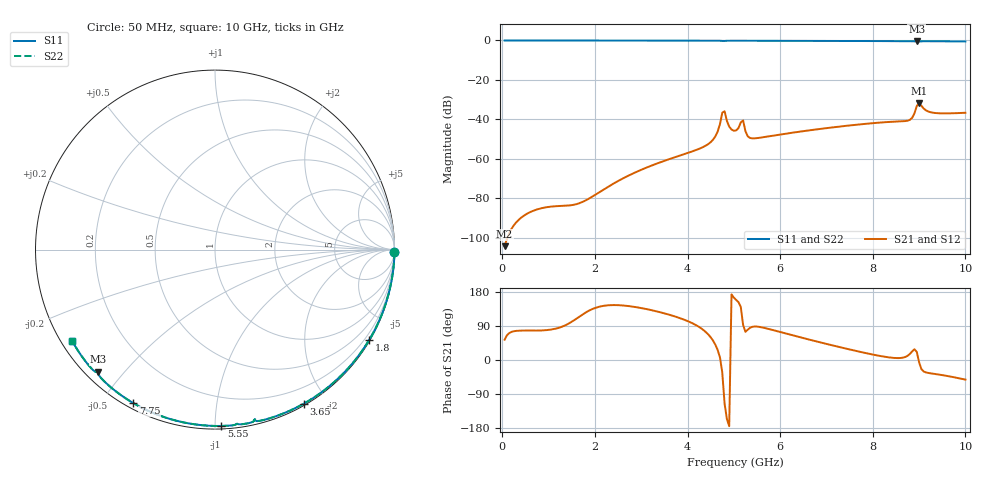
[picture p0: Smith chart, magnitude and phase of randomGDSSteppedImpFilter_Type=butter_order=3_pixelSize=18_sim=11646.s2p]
! freq	dB(S11)	phase(S11)	dB(S12)	phase(S12)
!  dB(S21)	phase(S21)	dB(S22)	phase(S22)
!S-par simulation data
#  GHz  S  DB  R 50
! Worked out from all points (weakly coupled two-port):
!   200 points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, 50 MHz to 10 GHz, reference 50 ohm
!   highest |S21| = -31.62 dB at 9 GHz (marker M1); lowest = -104.2 dB at 50 MHz (marker M2)
!   lowest |S11| = -0.5 dB at 8.95 GHz (marker M3), VSWR 33.44, Z = 1.77 - j21.3 ohm
!   |S11| at or under -10 dB: nowhere
!   |S22| runs from -0.5 to 0.0 dB; largest |S21 - S12| = 0
!   S11 on the Smith chart (normalised r, x): 50 MHz: open; 1.8 GHz: 0.03, -3.69; 3.65 GHz: 0.02, -1.73; 5.55 GHz: 0.02, -1.04; 7.75 GHz: 0.02, -0.60; 10 GHz: 0.03, -0.29
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0.05  -0.00 -0.9  -104.16 53.6  -104.16 53.6  -0.00 -0.9
1.75  -0.04 -29.5  -81.57 121.5  -81.57 121.5  -0.04 -29.5
1.8  -0.04 -30.3  -80.99 125.3  -80.99 125.3  -0.04 -30.3
3.4  -0.07 -56.1  -61.79 126.3  -61.79 126.3  -0.07 -56.0
3.65  -0.08 -59.9  -59.72 117.8  -59.72 117.8  -0.08 -59.9
4.5  -0.11 -72.9  -51.49 59.9  -51.49 59.9  -0.11 -72.9
4.65  -0.12 -75.3  -46.16 26.8  -46.16 26.8  -0.12 -75.3
4.75  -0.23 -77.2  -36.60 -32.7  -36.60 -32.7  -0.23 -77.1
4.8  -0.25 -76.7  -35.82 -115.0  -35.82 -115.0  -0.25 -76.7
4.9  -0.14 -78.4  -43.62 -174.8  -43.62 -174.8  -0.14 -78.4
5.05  -0.13 -80.8  -45.53 158.4  -45.53 158.4  -0.13 -80.8
5.2  -0.19 -82.8  -40.48 92.6  -40.48 92.6  -0.19 -82.8
5.3  -0.14 -84.2  -48.54 80.0  -48.54 80.0  -0.14 -84.2
5.55  -0.15 -87.9  -49.30 87.4  -49.30 87.4  -0.15 -87.9
6.7  -0.20 -104.0  -45.29 51.6  -45.29 51.6  -0.20 -103.9
7.75  -0.28 -118.1  -42.43 20.9  -42.43 20.9  -0.28 -118.0
8.35  -0.33 -126.0  -41.26 6.9  -41.26 6.9  -0.33 -126.0
8.8  -0.40 -132.0  -40.22 15.8  -40.22 15.8  -0.40 -132.0
8.95  -0.52 -133.8  -33.23 21.3  -33.23 21.3  -0.52 -133.8
9  -0.49 -133.8  -31.62 -5.8  -31.62 -5.8  -0.49 -133.7
9.25  -0.41 -137.4  -36.34 -35.1  -36.34 -35.1  -0.41 -137.4
10  -0.49 -147.4  -36.62 -51.7  -36.62 -51.7  -0.49 -147.4
